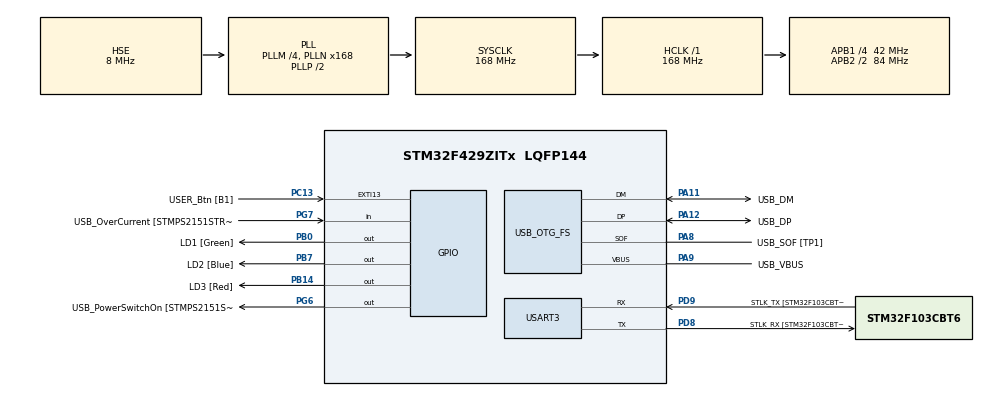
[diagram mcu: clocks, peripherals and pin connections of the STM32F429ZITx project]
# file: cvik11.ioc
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Mcu.Family=STM32F4
Mcu.Name=STM32F429ZITx
Mcu.Package=LQFP144
NVIC.OTG_FS_IRQn=true\:0\:0\:false\:false\:true\:false\:true\:true
NVIC.PriorityGroup=NVIC_PRIORITYGROUP_4
PA1.GPIO_Label=RMII_REF_CLK [LAN8742A-CZ-TR_REFCLK0]
PA1.Signal=ETH_REF_CLK
PA10.GPIO_Label=USB_ID
PA10.Signal=USB_OTG_FS_ID
PA11.GPIO_Label=USB_DM
PA11.Mode=Device_Only
PA11.Signal=USB_OTG_FS_DM
PA12.GPIO_Label=USB_DP
PA12.Mode=Device_Only
PA12.Signal=USB_OTG_FS_DP
PA13.GPIO_Label=TMS
PA13.Mode=Serial_Wire
PA13.Signal=SYS_JTMS-SWDIO
PA14.GPIO_Label=TCK
PA14.Mode=Serial_Wire
PA14.Signal=SYS_JTCK-SWCLK
PA2.GPIO_Label=RMII_MDIO [LAN8742A-CZ-TR_MDIO]
PA2.Signal=ETH_MDIO
PA7.GPIO_Label=RMII_CRS_DV [LAN8742A-CZ-TR_CRS_DV]
PA7.Signal=ETH_CRS_DV
PA8.GPIO_Label=USB_SOF [TP1]
PA8.Mode=Activate_SOF_FS
PA8.Signal=USB_OTG_FS_SOF
PA9.GPIO_Label=USB_VBUS
PA9.Mode=Activate_VBUS
PA9.Signal=USB_OTG_FS_VBUS
PB0.GPIO_Label=LD1 [Green]
PB0.Signal=GPIO_Output
PB13.GPIO_Label=RMII_TXD1 [LAN8742A-CZ-TR_TXD1]
PB13.Signal=ETH_TXD1
PB14.GPIO_Label=LD3 [Red]
PB14.Signal=GPIO_Output
PB7.GPIO_Label=LD2 [Blue]
PB7.Signal=GPIO_Output
PC1.GPIO_Label=RMII_MDC [LAN8742A-CZ-TR_MDC]
PC1.Signal=ETH_MDC
PC13.GPIO_Label=USER_Btn [B1]
PC13.Signal=GPXTI13
PC14/OSC32_IN.Mode=LSE-External-Oscillator
PC14/OSC32_IN.Signal=RCC_OSC32_IN
PC15/OSC32_OUT.Mode=LSE-External-Oscillator
PC15/OSC32_OUT.Signal=RCC_OSC32_OUT
PC4.GPIO_Label=RMII_RXD0 [LAN8742A-CZ-TR_RXD0]
PC4.Signal=ETH_RXD0
PC5.GPIO_Label=RMII_RXD1 [LAN8742A-CZ-TR_RXD1]
PC5.Signal=ETH_RXD1
PD8.GPIO_Label=STLK_RX [STM32F103CBT6_PA3]
PD8.Mode=Asynchronous
PD8.Signal=USART3_TX
PD9.GPIO_Label=STLK_TX [STM32F103CBT6_PA2]
PD9.Mode=Asynchronous
PD9.Signal=USART3_RX
PG11.GPIO_Label=RMII_TX_EN [LAN8742A-CZ-TR_TXEN]
PG11.Signal=ETH_TX_EN
PG13.GPIO_Label=RMII_TXD0 [LAN8742A-CZ-TR_TXD0]
PG13.Signal=ETH_TXD0
PG6.GPIO_Label=USB_PowerSwitchOn [STMPS2151STR_EN]
PG6.Signal=GPIO_Output
PG7.GPIO_Label=USB_OverCurrent [STMPS2151STR_FAULT]
PG7.Signal=GPIO_Input
PH0/OSC_IN.GPIO_Label=MCO [STM32F103CBT6_PA8]
PH0/OSC_IN.Mode=HSE-External-Clock-Source
PH0/OSC_IN.Signal=RCC_OSC_IN
PH1/OSC_OUT.Mode=HSE-External-Clock-Source
PH1/OSC_OUT.Signal=RCC_OSC_OUT
ProjectManager.HeapSize=0x200
ProjectManager.StackSize=0x400
ProjectManager.TargetToolchain=STM32CubeIDE
RCC.48MHZClocksFreq_Value=48000000
RCC.AHBFreq_Value=168000000
RCC.APB1CLKDivider=RCC_HCLK_DIV4
RCC.APB1Freq_Value=42000000
RCC.APB1TimFreq_Value=84000000
RCC.APB2CLKDivider=RCC_HCLK_DIV2
RCC.APB2Freq_Value=84000000
RCC.APB2TimCLKDivider=2
RCC.APB2TimFreq_Value=168000000
RCC.CortexFreq_Value=168000000
RCC.HCLKFreq_Value=168000000
RCC.HSE_VALUE=8000000
RCC.HSI_VALUE=16000000
RCC.PLLM=4
RCC.PLLMUL=RCC_PLL_MUL9
RCC.PLLN=168
RCC.PLLQ=7
RCC.PRESCALERUSB=RCC_USBCLKSOURCE_PLL_DIV1_5
RCC.SYSCLKFreq_VALUE=168000000
RCC.SYSCLKSource=RCC_SYSCLKSOURCE_PLLCLK
RCC.SYSCLKSourceVirtual=RCC_SYSCLKSOURCE_PLLCLK
RCC.USBFreq_Value=48000000
RCC.VCOOutputFreq_Value=336000000
USART3.VirtualMode=VM_ASYNC
USB_DEVICE.CLASS_NAME_FS=HID
USB_DEVICE.VirtualMode-HID_FS=Hid
USB_DEVICE.VirtualModeFS=Hid_FS
USB_OTG_FS.VirtualMode=Device_Only
VP_USB_DEVICE_VS_USB_DEVICE_HID_FS.Mode=HID_FS
board=NUCLEO-F429ZI

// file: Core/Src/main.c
/* USER CODE BEGIN Header */
/**
  ******************************************************************************
  * @file           : main.c
  * @brief          : Main program body
  ******************************************************************************
  * @attention
  *
  * Copyright (c) 2023 STMicroelectronics.
  * All rights reserved.
  *
  * This software is licensed under terms that can be found in the LICENSE file
  * in the root directory of this software component.
  * If no LICENSE file comes with this software, it is provided AS-IS.
  *
  ******************************************************************************
  */
/* USER CODE END Header */
#include "main.h"
#include "usb_device.h"
/* USER CODE BEGIN Includes */
#include <usbd_hid.h>
#include <stdbool.h>
#include <math.h>

/* USER CODE END Includes */

/* USER CODE BEGIN PTD */
extern USBD_HandleTypeDef hUsbDeviceFS;
/* USER CODE END PTD */

UART_HandleTypeDef huart3;

void SystemClock_Config(void);
static void MX_GPIO_Init(void);
static void MX_USART3_UART_Init(void);

/* USER CODE BEGIN 0 */
static void step(int8_t x, int8_t y, bool btn) {
	uint8_t buff[4];
	if (btn) {
		buff[0] = 1;
	} else {
		buff[0] = 0;
	}
	buff[1] = x;
	buff[2] = -y;
	buff[3] = 0;
	USBD_HID_SendReport(&hUsbDeviceFS, buff, sizeof(buff));
	HAL_Delay(USBD_HID_GetPollingInterval(&hUsbDeviceFS));
}
static void circle(int8_t radius, bool half) {
	static float x = 0;
	static float y = 0;
	static float sx = 0;
	static float sy = 0;
	static float dx = 0;
	static float dy = 0;
	for (uint8_t i = 0; i <= 20; i++) {
		x = radius * cosf(i * 2 * M_PI / 20);
		y = radius * sinf(i * 2 * M_PI / 20);
		dx = (x - sx);
		dy = (y - sy);
		if ((half) && (i >= 10)) {
			step(dx, dy, half);
		} else if ((half) && (i < 10)) {
			step(0, 0, 0);
			step(dx, dy, false);
		} else {
			step(dx, dy, true);
		}
		sx = x;
		sy = y;
		HAL_Delay(10);
	}
	step(0, 0, false);

}
void draw_smajlik() {
	circle(100, false);
	for (uint8_t i = 1; i < 5; i++) {
		step(-4, -1, false);
	}
	circle(20, false);
	for (uint8_t i = 1; i < 11; i++) {
		step(-8, 0, false);
	}
	circle(20, false);
	for (uint8_t i = 1; i < 5; i++) {
		step(4, 0, false);
	}
	for (uint8_t i = 1; i < 5; i++) {
		step(0, -13, true);
	}

	circle(50, true);

}
/* USER CODE END 0 */

int main(void)
{

  /* MCU Configuration--------------------------------------------------------*/

  /* Reset of all peripherals, Initializes the Flash interface and the Systick. */
  HAL_Init();

  /* Configure the system clock */
  SystemClock_Config();

  /* Initialize all configured peripherals */
  MX_GPIO_Init();
  MX_USART3_UART_Init();
  MX_USB_DEVICE_Init();

  /* Infinite loop */
  while (1)
  {
	if (HAL_GPIO_ReadPin(USER_Btn_GPIO_Port, USER_Btn_Pin)) {
		draw_smajlik();
	}
	HAL_Delay(100);
  }
}

void SystemClock_Config(void)
{
  RCC_OscInitTypeDef RCC_OscInitStruct = {0};
  RCC_ClkInitTypeDef RCC_ClkInitStruct = {0};

  /** Configure the main internal regulator output voltage
  */
  __HAL_RCC_PWR_CLK_ENABLE();
  __HAL_PWR_VOLTAGESCALING_CONFIG(PWR_REGULATOR_VOLTAGE_SCALE1);

  /** Initializes the RCC Oscillators according to the specified parameters
  * in the RCC_OscInitTypeDef structure.
  */
  RCC_OscInitStruct.OscillatorType = RCC_OSCILLATORTYPE_HSE;
  RCC_OscInitStruct.HSEState = RCC_HSE_BYPASS;
  RCC_OscInitStruct.PLL.PLLState = RCC_PLL_ON;
  RCC_OscInitStruct.PLL.PLLSource = RCC_PLLSOURCE_HSE;
  RCC_OscInitStruct.PLL.PLLM = 4;
  RCC_OscInitStruct.PLL.PLLN = 168;
  RCC_OscInitStruct.PLL.PLLP = RCC_PLLP_DIV2;
  RCC_OscInitStruct.PLL.PLLQ = 7;
  if (HAL_RCC_OscConfig(&RCC_OscInitStruct) != HAL_OK)
  {
    Error_Handler();
  }

  /** Initializes the CPU, AHB and APB buses clocks
  */
  RCC_ClkInitStruct.ClockType = RCC_CLOCKTYPE_HCLK|RCC_CLOCKTYPE_SYSCLK
                              |RCC_CLOCKTYPE_PCLK1|RCC_CLOCKTYPE_PCLK2;
  RCC_ClkInitStruct.SYSCLKSource = RCC_SYSCLKSOURCE_PLLCLK;
  RCC_ClkInitStruct.AHBCLKDivider = RCC_SYSCLK_DIV1;
  RCC_ClkInitStruct.APB1CLKDivider = RCC_HCLK_DIV4;
  RCC_ClkInitStruct.APB2CLKDivider = RCC_HCLK_DIV2;

  if (HAL_RCC_ClockConfig(&RCC_ClkInitStruct, FLASH_LATENCY_5) != HAL_OK)
  {
    Error_Handler();
  }
}

static void MX_USART3_UART_Init(void)
{

  huart3.Instance = USART3;
  huart3.Init.BaudRate = 115200;
  huart3.Init.WordLength = UART_WORDLENGTH_8B;
  huart3.Init.StopBits = UART_STOPBITS_1;
  huart3.Init.Parity = UART_PARITY_NONE;
  huart3.Init.Mode = UART_MODE_TX_RX;
  huart3.Init.HwFlowCtl = UART_HWCONTROL_NONE;
  huart3.Init.OverSampling = UART_OVERSAMPLING_16;
  if (HAL_UART_Init(&huart3) != HAL_OK)
  {
    Error_Handler();
  }

}

static void MX_GPIO_Init(void)
{
  GPIO_InitTypeDef GPIO_InitStruct = {0};

  /* GPIO Ports Clock Enable */
  __HAL_RCC_GPIOC_CLK_ENABLE();
  __HAL_RCC_GPIOH_CLK_ENABLE();
  __HAL_RCC_GPIOA_CLK_ENABLE();
  __HAL_RCC_GPIOB_CLK_ENABLE();
  __HAL_RCC_GPIOD_CLK_ENABLE();
  __HAL_RCC_GPIOG_CLK_ENABLE();

  /*Configure GPIO pin Output Level */
  HAL_GPIO_WritePin(GPIOB, LD1_Pin|LD3_Pin|LD2_Pin, GPIO_PIN_RESET);

  /*Configure GPIO pin Output Level */
  HAL_GPIO_WritePin(USB_PowerSwitchOn_GPIO_Port, USB_PowerSwitchOn_Pin, GPIO_PIN_RESET);

  /*Configure GPIO pin : USER_Btn_Pin */
  GPIO_InitStruct.Pin = USER_Btn_Pin;
  GPIO_InitStruct.Mode = GPIO_MODE_IT_RISING;
  GPIO_InitStruct.Pull = GPIO_NOPULL;
  HAL_GPIO_Init(USER_Btn_GPIO_Port, &GPIO_InitStruct);

  /*Configure GPIO pins : RMII_MDC_Pin RMII_RXD0_Pin RMII_RXD1_Pin */
  GPIO_InitStruct.Pin = RMII_MDC_Pin|RMII_RXD0_Pin|RMII_RXD1_Pin;
  GPIO_InitStruct.Mode = GPIO_MODE_AF_PP;
  GPIO_InitStruct.Pull = GPIO_NOPULL;
  GPIO_InitStruct.Speed = GPIO_SPEED_FREQ_VERY_HIGH;
  GPIO_InitStruct.Alternate = GPIO_AF11_ETH;
  HAL_GPIO_Init(GPIOC, &GPIO_InitStruct);

  /*Configure GPIO pins : RMII_REF_CLK_Pin RMII_MDIO_Pin RMII_CRS_DV_Pin */
  GPIO_InitStruct.Pin = RMII_REF_CLK_Pin|RMII_MDIO_Pin|RMII_CRS_DV_Pin;
  GPIO_InitStruct.Mode = GPIO_MODE_AF_PP;
  GPIO_InitStruct.Pull = GPIO_NOPULL;
  GPIO_InitStruct.Speed = GPIO_SPEED_FREQ_VERY_HIGH;
  GPIO_InitStruct.Alternate = GPIO_AF11_ETH;
  HAL_GPIO_Init(GPIOA, &GPIO_InitStruct);

  /*Configure GPIO pins : LD1_Pin LD3_Pin LD2_Pin */
  GPIO_InitStruct.Pin = LD1_Pin|LD3_Pin|LD2_Pin;
  GPIO_InitStruct.Mode = GPIO_MODE_OUTPUT_PP;
  GPIO_InitStruct.Pull = GPIO_NOPULL;
  GPIO_InitStruct.Speed = GPIO_SPEED_FREQ_LOW;
  HAL_GPIO_Init(GPIOB, &GPIO_InitStruct);

  /*Configure GPIO pin : RMII_TXD1_Pin */
  GPIO_InitStruct.Pin = RMII_TXD1_Pin;
  GPIO_InitStruct.Mode = GPIO_MODE_AF_PP;
  GPIO_InitStruct.Pull = GPIO_NOPULL;
  GPIO_InitStruct.Speed = GPIO_SPEED_FREQ_VERY_HIGH;
  GPIO_InitStruct.Alternate = GPIO_AF11_ETH;
  HAL_GPIO_Init(RMII_TXD1_GPIO_Port, &GPIO_InitStruct);

  /*Configure GPIO pin : USB_PowerSwitchOn_Pin */
  GPIO_InitStruct.Pin = USB_PowerSwitchOn_Pin;
  GPIO_InitStruct.Mode = GPIO_MODE_OUTPUT_PP;
  GPIO_InitStruct.Pull = GPIO_NOPULL;
  GPIO_InitStruct.Speed = GPIO_SPEED_FREQ_LOW;
  HAL_GPIO_Init(USB_PowerSwitchOn_GPIO_Port, &GPIO_InitStruct);

  /*Configure GPIO pin : USB_OverCurrent_Pin */
  GPIO_InitStruct.Pin = USB_OverCurrent_Pin;
  GPIO_InitStruct.Mode = GPIO_MODE_INPUT;
  GPIO_InitStruct.Pull = GPIO_NOPULL;
  HAL_GPIO_Init(USB_OverCurrent_GPIO_Port, &GPIO_InitStruct);

  /*Configure GPIO pins : RMII_TX_EN_Pin RMII_TXD0_Pin */
  GPIO_InitStruct.Pin = RMII_TX_EN_Pin|RMII_TXD0_Pin;
  GPIO_InitStruct.Mode = GPIO_MODE_AF_PP;
  GPIO_InitStruct.Pull = GPIO_NOPULL;
  GPIO_InitStruct.Speed = GPIO_SPEED_FREQ_VERY_HIGH;
  GPIO_InitStruct.Alternate = GPIO_AF11_ETH;
  HAL_GPIO_Init(GPIOG, &GPIO_InitStruct);

}

void Error_Handler(void)
{
  __disable_irq();
  while (1)
  {
  }
}
